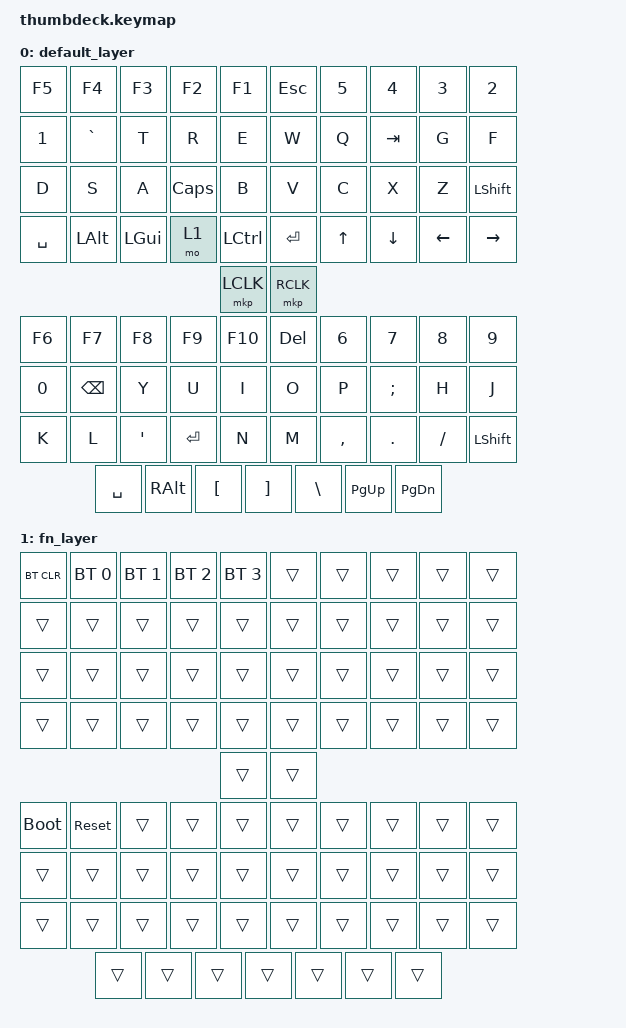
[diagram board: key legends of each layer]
/*
 * thumbdeck.keymap — GENERATED by hardware/scripts/gen_firmware.py.
 * Bindings are in transform order: all LEFT-grip keys (42) then all RIGHT-grip
 * keys (37). Layer 1 (FN, via the FN key) has BLE-select + bootloader.
 */
#include <behaviors.dtsi>
#include <dt-bindings/zmk/keys.h>
#include <dt-bindings/zmk/bt.h>
#include <dt-bindings/zmk/outputs.h>

/ {
	keymap {
		compatible = "zmk,keymap";
		default_layer {
			bindings = <
/* LEFT grip (42 keys) */
            &kp F5  &kp F4  &kp F3  &kp F2  &kp F1  &kp ESC  &kp N5  &kp N4  &kp N3  &kp N2
            &kp N1  &kp GRAVE  &kp T  &kp R  &kp E  &kp W  &kp Q  &kp TAB  &kp G  &kp F
            &kp D  &kp S  &kp A  &kp CAPS  &kp B  &kp V  &kp C  &kp X  &kp Z  &kp LSHFT
            &kp SPACE  &kp LALT  &kp LGUI  &mo 1  &kp LCTRL  &kp RET  &kp UP  &kp DOWN  &kp LEFT  &kp RIGHT
            &mkp LCLK  &mkp RCLK
/* RIGHT grip (37 keys) */
            &kp F6  &kp F7  &kp F8  &kp F9  &kp F10  &kp DEL  &kp N6  &kp N7  &kp N8  &kp N9
            &kp N0  &kp BSPC  &kp Y  &kp U  &kp I  &kp O  &kp P  &kp SEMI  &kp H  &kp J
            &kp K  &kp L  &kp SQT  &kp RET  &kp N  &kp M  &kp COMMA  &kp DOT  &kp FSLH  &kp LSHFT
            &kp SPACE  &kp RALT  &kp LBKT  &kp RBKT  &kp BSLH  &kp PG_UP  &kp PG_DN
			>;
		};
		fn_layer {
			bindings = <
            &bt BT_CLR  &bt BT_SEL 0  &bt BT_SEL 1  &bt BT_SEL 2  &bt BT_SEL 3  &trans  &trans  &trans  &trans  &trans
            &trans  &trans  &trans  &trans  &trans  &trans  &trans  &trans  &trans  &trans
            &trans  &trans  &trans  &trans  &trans  &trans  &trans  &trans  &trans  &trans
            &trans  &trans  &trans  &trans  &trans  &trans  &trans  &trans  &trans  &trans
            &trans  &trans
            &bootloader  &sys_reset  &trans  &trans  &trans  &trans  &trans  &trans  &trans  &trans
            &trans  &trans  &trans  &trans  &trans  &trans  &trans  &trans  &trans  &trans
            &trans  &trans  &trans  &trans  &trans  &trans  &trans  &trans  &trans  &trans
            &trans  &trans  &trans  &trans  &trans  &trans  &trans
			>;
		};
	};
};
